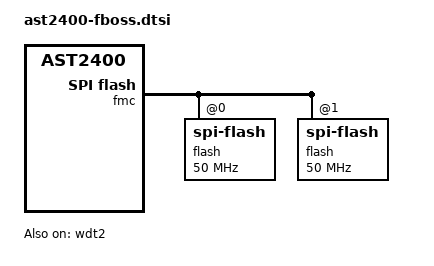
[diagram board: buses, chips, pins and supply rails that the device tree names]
/dts-v1/;

#include "ast2400-u-boot.dtsi"

/*
Currently the DRAM are setup in platform.S
during lowlevel_init so this dts did not setup DRAM.
*/
/ {
	aliases {
		spi0 = &fmc;
	};
};

&fmc {
	status = "okay";
	flash@0 {
		compatible = "spi-flash";
		status = "okay";
		spi-max-frequency = <50000000>;
		spi-tx-bus-width = <1>;
		spi-rx-bus-width = <1>;
	};

	flash@1 {
        compatible = "spi-flash";
        status = "okay";
        spi-max-frequency = <50000000>;
        spi-tx-bus-width = <1>;
        spi-rx-bus-width = <1>;
    };
};


&wdt2 {
	status = "okay";
	boot2nd = <1>;
};


